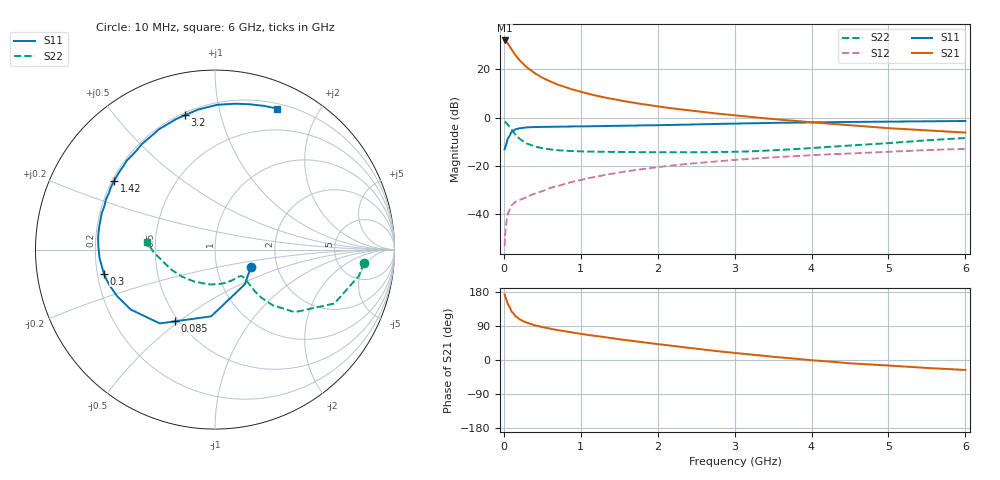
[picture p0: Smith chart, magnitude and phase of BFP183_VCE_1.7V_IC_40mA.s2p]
! Infineon Technologies  Discrete & RF Semiconductors
! BFP183
! VCE = 1.7 V,  IC =  40 mA
! Common Emitter S-Parameters:  Jan 2016
# GHz  S  MA  R  50
!  f  S11  S21  S12  S22
! GHz  MAG  ANG  MAG  ANG  MAG  ANG  MAG  ANG
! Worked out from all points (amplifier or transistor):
!   210 points, 10 MHz to 6 GHz, reference 50 ohm
!   highest |S21| = 32.0 dB at 10 MHz (marker M1)
!   |S21| within 3 dB of that: start of sweep to 85.58 MHz
!   unconditionally stable (mu >= 1): start of sweep to 17.69 MHz; 291.1 MHz to end of sweep
!   at 185 MHz: K = 0.76, MSG = 29.4 dB, |S12| = -34.2 dB
!   at 1.52 GHz: K = 1.48, MAG = 10.8 dB, |S12| = -22.5 dB
!   at 6 GHz: K = 1.16, MAG = 1.0 dB, |S12| = -12.8 dB
!   S11 on the Smith chart (normalised r, x): 10 MHz: 1.46, -0.31; 85 MHz: 0.48, -0.48; 300 MHz: 0.23, -0.10; 1.42 GHz: 0.21, +0.30; 3.2 GHz: 0.21, +0.78; 6 GHz: 0.25, +1.51
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0.01  0.2224 -26.6  39.9 173.2  0.0022 75.8  0.8319 -5.0
0.02  0.255 -49.3  39.32 166.7  0.0044 74.1  0.8148 -10.4
0.05  0.3724 -93.3  35 148.5  0.01 67.0  0.73 -24.3
0.085  0.4569 -119.0  28.34 135.6  0.0136 55.2  0.6105 -33.2
0.1  0.5136 -126.8  26.08 128.2  0.0153 51.9  0.5651 -38.1
0.15  0.5764 -144.6  19.9 115.8  0.0182 48.2  0.4475 -43.9
0.2  0.6044 -154.8  15.83 108.0  0.0199 47.5  0.3731 -46.0
0.24  0.6186 -160.7  13.56 103.6  0.0209 47.8  0.3361 -46.3
0.3  0.6335 -167.8  11.02 98.2  0.0231 50.0  0.293 -45.8
0.4  0.6444 -175.5  8.407 91.6  0.0269 52.3  0.2549 -44.9
0.5  0.65 178.6  6.764 86.8  0.0302 54.2  0.2336 -44.3
0.6  0.655 173.8  5.697 82.5  0.0352 56.5  0.2213 -44.2
0.7  0.6575 169.3  4.864 78.8  0.0386 58.2  0.2129 -44.5
0.8  0.6591 165.7  4.284 75.3  0.0428 58.7  0.2078 -45.3
1.02  0.6635 157.7  3.38 68.4  0.0524 59.5  0.2007 -48.5
1.42  0.6804 145.6  2.436 57.2  0.0701 58.2  0.1965 -56.6
2.02  0.7028 129.0  1.701 41.3  0.0961 53.7  0.1942 -72.6
3.1  0.7628 104.5  1.083 16.8  0.1377 43.2  0.1992 -109.7
3.2  0.7673 102.6  1.046 14.9  0.1412 42.2  0.2015 -113.4
4.1  0.8088 87.6  0.785 -2.1  0.1713 33.2  0.2422 -143.8
5.1  0.8353 75.2  0.597 -15.9  0.2008 24.5  0.3069 -169.8
6  0.8594 66.1  0.494 -26.3  0.2279 15.2  0.382 173.4
